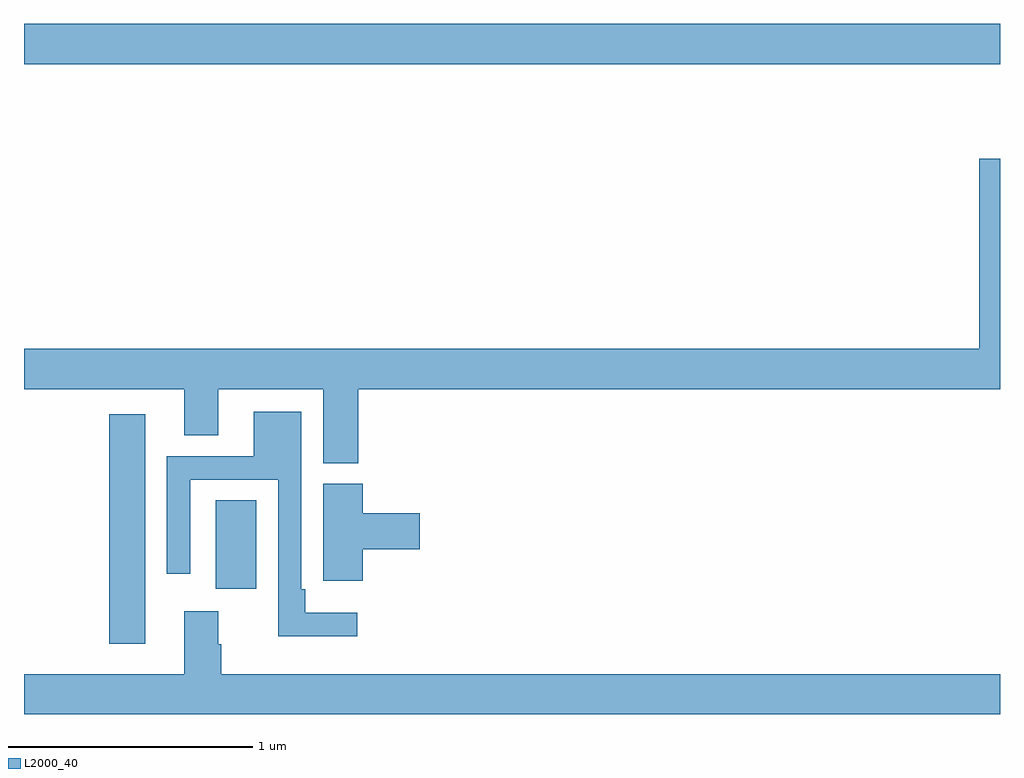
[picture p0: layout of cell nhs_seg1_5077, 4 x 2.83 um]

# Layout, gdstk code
import gdstk
lib = gdstk.Library(unit=1e-6, precision=1e-09)
def R(c, l, rs):  # rectangles x0, y0, x1, y1
    for r in rs: c.add(gdstk.rectangle(r[:2], r[2:], *l))
def P(c, l, *ps):  # polygons
    for p in ps: c.add(gdstk.Polygon(p, *l))
L2000_40 = (2000, 40)

nhs_seg1_5077 = lib.new_cell('nhs_seg1_5077')
R(nhs_seg1_5077, L2000_40, [(387.35,513.393,387.496,514.333), (387.785,513.618,387.952,513.98), (387,515.768,391,515.932)])
P(nhs_seg1_5077, L2000_40, [(387,514.436),(387.656,514.436),(387.656,514.246),(387.796,514.246),(387.796,514.436),(388.226,514.436),(388.226,514.132),(388.37,514.132),(388.37,514.436),(391,514.436),(391,515.38),(390.914,515.38),(390.914,514.6),(387,514.6)],
  [(388.366,513.52),(388.153,513.52),(388.153,513.616),(388.137,513.616),(388.137,514.342),(387.941,514.342),(387.941,514.161),(387.585,514.161),(387.585,513.678),(387.681,513.678),(387.681,514.065),(388.041,514.065),(388.041,513.422),(388.366,513.422)],
  [(388.388,513.779),(388.621,513.779),(388.621,513.926),(388.388,513.926),(388.388,514.047),(388.226,514.047),(388.226,513.763),(388.227,513.763),(388.227,513.651),(388.388,513.651)],
  [(391,513.268),(387.809,513.268),(387.809,513.389),(387.796,513.389),(387.796,513.526),(387.656,513.526),(387.656,513.268),(387,513.268),(387,513.104),(391,513.104)])

lib.write_gds('nhs_seg1_5077.gds')
